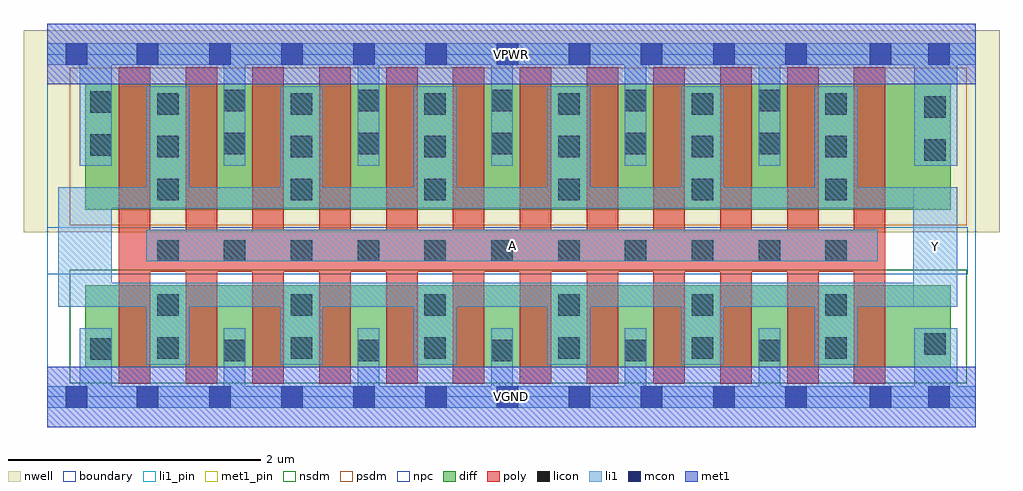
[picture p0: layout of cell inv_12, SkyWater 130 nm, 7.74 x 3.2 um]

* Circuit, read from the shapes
.subckt inv_12 A VGND VPWR Y
XM1 Y A VGND VSUBS sky130_fd_pr__nfet_01v8 w=0.65 l=0.25 m=12
XM2 Y A VPWR n1 sky130_fd_pr__pfet_01v8 w=1 l=0.25 m=12
.ends

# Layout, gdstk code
import gdstk
lib = gdstk.Library(unit=1e-6, precision=1e-09)
def R(c, l, rs):  # rectangles x0, y0, x1, y1
    for r in rs: c.add(gdstk.rectangle(r[:2], r[2:], *l))
def A(c, l, x, y, w, h, nx, ny, dx, dy):  # array of equal rectangles
    R(c, l, [(x+i*dx, y+j*dy, x+i*dx+w, y+j*dy+h) for i in range(nx) for j in range(ny)])
nwell = (64, 20)
diff = (65, 20)
poly = (66, 20)
licon = (66, 44)
li1_pin = (67, 16)
li1 = (67, 20)
mcon = (67, 44)
met1_pin = (68, 16)
met1 = (68, 20)
nsdm = (93, 44)
psdm = (94, 20)
npc = (95, 20)
boundary = (235, 4)

inv_12 = lib.new_cell('inv_12')
R(inv_12, nwell, [(-0.19,1.305,7.55,2.91), (0,1.305,7.36,2.91)])
R(inv_12, diff, [(0.3,0.235,7.165,0.885), (0.3,1.485,7.165,2.485)])
A(inv_12, poly, 0.565, 0.105, 0.25, 2.51, 12, 1, 0.53, 0)
R(inv_12, poly, [(0.565,0.995,6.645,1.325)])
A(inv_12, licon, 1.4, 0.285, 0.17, 0.17, 5, 2, 1.06, 1.64)
A(inv_12, licon, 0.87, 0.305, 0.17, 0.17, 6, 2, 1.06, 0.34)
A(inv_12, licon, 0.87, 1.075, 0.17, 0.17, 11, 1, 0.53, 0)
A(inv_12, licon, 0.87, 1.56, 0.17, 0.17, 6, 3, 1.06, 0.34)
A(inv_12, licon, 1.4, 2.265, 0.17, 0.17, 5, 1, 1.06, 0)
R(inv_12, licon, [(0.34,0.295,0.51,0.465), (6.955,0.335,7.125,0.505), (6.955,1.875,7.125,2.045), (0.34,1.915,0.51,2.085), (6.955,2.215,7.125,2.385), (0.34,2.255,0.51,2.425)])
R(inv_12, li1_pin, [(6.865,0.715,7.215,1.665), (0.785,1.075,6.585,1.325)])
A(inv_12, li1, 1.4, -0.085, 0.17, 0.63, 5, 1, 1.06, 0)
A(inv_12, li1, 0.785, 0.255, 0.34, 0.65, 6, 1, 1.06, 0)
A(inv_12, li1, 0.785, 1.495, 0.34, 0.97, 6, 1, 1.06, 0)
A(inv_12, li1, 1.4, 1.835, 0.17, 0.97, 5, 1, 1.06, 0)
R(inv_12, li1, [(0,-0.085,7.36,0.085), (0.255,-0.085,0.51,0.545), (6.875,-0.085,7.215,0.545), (0.085,0.715,7.215,0.905), (0.085,0.715,0.51,1.665), (6.865,0.715,7.215,1.665), (0.785,1.075,6.585,1.325), (0.085,1.495,7.215,1.665), (0.255,1.835,0.51,2.805), (6.875,1.835,7.215,2.805), (0,2.635,7.36,2.805)])
A(inv_12, mcon, 1.285, -0.085, 0.17, 0.17, 7, 2, 0.57, 2.72)
R(inv_12, mcon, [(0.145,-0.085,0.315,0.085), (0.71,-0.085,0.88,0.085), (5.28,-0.085,5.45,0.085), (5.85,-0.085,6.02,0.085), (6.52,-0.085,6.69,0.085), (6.985,-0.085,7.155,0.085), (0.145,2.635,0.315,2.805), (0.71,2.635,0.88,2.805), (5.28,2.635,5.45,2.805), (5.85,2.635,6.02,2.805), (6.52,2.635,6.69,2.805), (6.985,2.635,7.155,2.805)])
R(inv_12, met1_pin, [(0,-0.24,7.36,0.24), (0,2.48,7.36,2.96)])
R(inv_12, met1, [(0,-0.24,7.36,0.24), (0,2.48,7.36,2.96)])
R(inv_12, nsdm, [(0.175,0.11,7.29,1.01)])
R(inv_12, psdm, [(0.175,1.36,7.29,2.61)])
R(inv_12, npc, [(0,0.975,7.3,1.345)])
R(inv_12, boundary, [(0,0,7.36,2.72)])
inv_12.add(gdstk.Label('A', (3.685,1.2), layer=67, texttype=5))
inv_12.add(gdstk.Label('Y', (7.04,1.19), layer=67, texttype=5))
inv_12.add(gdstk.Label('VPWR', (3.68,2.72), layer=68, texttype=5))
inv_12.add(gdstk.Label('VGND', (3.68,0), layer=68, texttype=5))
inv_12.add(gdstk.Label('A', (3.685,1.2), layer=67, texttype=16))
inv_12.add(gdstk.Label('Y', (7.04,1.19), layer=67, texttype=16))
inv_12.add(gdstk.Label('VPWR', (3.68,2.72), layer=68, texttype=16))
inv_12.add(gdstk.Label('VGND', (3.68,0), layer=68, texttype=16))

lib.write_gds('inv_12.gds')
